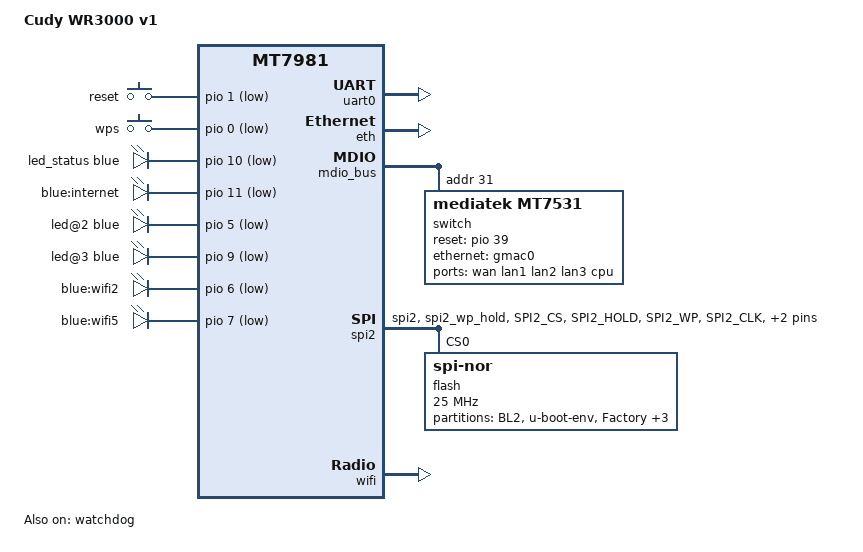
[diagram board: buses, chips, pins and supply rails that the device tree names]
// SPDX-License-Identifier: (GPL-2.0 OR MIT)

/dts-v1/;

#include <dt-bindings/leds/common.h>

#include "mt7981.dtsi"

/ {
	model = "Cudy WR3000 v1";
	compatible = "cudy,wr3000-v1", "mediatek,mt7981";

	aliases {
		ethernet0 = &gmac0;
		label-mac-device = &gmac0;
		led-boot = &led_status;
		led-failsafe = &led_status;
		led-running = &led_status;
		led-upgrade = &led_status;
		serial0 = &uart0;
	};

	chosen {
		stdout-path = "serial0:115200n8";
	};

	gpio-keys {
		compatible = "gpio-keys";

		reset {
			label = "reset";
			linux,code = <KEY_RESTART>;
			gpios = <&pio 1 GPIO_ACTIVE_LOW>;
		};

		wps {
			label = "wps";
			linux,code = <KEY_WPS_BUTTON>;
			gpios = <&pio 0 GPIO_ACTIVE_LOW>;
		};
	};

	leds {
		compatible = "gpio-leds";

		led_status: led@0 {
			function = LED_FUNCTION_STATUS;
			color = <LED_COLOR_ID_BLUE>;
			gpios = <&pio 10 GPIO_ACTIVE_LOW>;
		};

		led@1 {
			label = "blue:internet";
			gpios = <&pio 11 GPIO_ACTIVE_LOW>;
		};

		led@2 {
			function = LED_FUNCTION_WAN;
			color = <LED_COLOR_ID_BLUE>;
			gpios = <&pio 5 GPIO_ACTIVE_LOW>;
		};

		led@3 {
			function = LED_FUNCTION_LAN;
			color = <LED_COLOR_ID_BLUE>;
			gpios = <&pio 9 GPIO_ACTIVE_LOW>;
		};

		led@4 {
			label = "blue:wifi2";
			gpios = <&pio 6 GPIO_ACTIVE_LOW>;
			linux,default-trigger = "phy0tpt";
		};

		led@5 {
			label = "blue:wifi5";
			gpios = <&pio 7 GPIO_ACTIVE_LOW>;
			linux,default-trigger = "phy1tpt";
		};
	};
};

&uart0 {
	status = "okay";
};

&watchdog {
	status = "okay";
};

&eth {
	pinctrl-names = "default";
	pinctrl-0 = <&mdio_pins>;

	status = "okay";

	gmac0: mac@0 {
		compatible = "mediatek,eth-mac";
		reg = <0>;
		phy-mode = "2500base-x";

		nvmem-cell-names = "mac-address";
		nvmem-cells = <&macaddr_bdinfo_de00 0>;

		fixed-link {
			speed = <2500>;
			full-duplex;
			pause;
		};
	};

	gmac1: mac@1 {
		compatible = "mediatek,eth-mac";
		reg = <1>;
		status = "disabled";
	};
};

&mdio_bus {
	switch: switch@1f {
		compatible = "mediatek,mt7531";
		reg = <31>;
		reset-gpios = <&pio 39 GPIO_ACTIVE_HIGH>;
	};
};

&spi0 {
	pinctrl-names = "default";
	pinctrl-0 = <&spi0_flash_pins>;
	status = "disabled";
};

&spi2 {
	pinctrl-names = "default";
	pinctrl-0 = <&spi2_flash_pins>;
	status = "okay";

	flash@0 {
		#address-cells = <1>;
		#size-cells = <1>;

		compatible = "jedec,spi-nor";
		reg = <0>;

		spi-max-frequency = <25000000>;
		spi-tx-bus-width = <4>;
		spi-rx-bus-width = <4>;

		partitions {
			compatible = "fixed-partitions";
			#address-cells = <1>;
			#size-cells = <1>;

			partition@00000 {
				label = "BL2";
				reg = <0x00000 0x40000>;
				read-only;
			};

			partition@40000 {
				label = "u-boot-env";
				reg = <0x40000 0x10000>;
				read-only;
			};

			factory: partition@50000 {
				label = "Factory";
				reg = <0x50000 0x10000>;
				read-only;
			};

			bdinfo: partition@60000 {
				label = "bdinfo";
				reg = <0x60000 0x10000>;
				read-only;

				nvmem-layout {
					compatible = "fixed-layout";
					#address-cells = <1>;
					#size-cells = <1>;

					macaddr_bdinfo_de00: macaddr@de00 {
						compatible = "mac-base";
						reg = <0xde00 0x6>;
						#nvmem-cell-cells = <1>;
					};
				};
			};

			partition@70000 {
				label = "FIP";
				reg = <0x70000 0x80000>;
				read-only;
			};

			partition@f0000 {
				compatible = "denx,fit";
				label = "firmware";
				reg = <0xf0000 0xf10000>;
			};
		};
	};
};

&pio {
	spi0_flash_pins: spi0-pins {
		mux {
			function = "spi";
			groups = "spi0", "spi0_wp_hold";
		};
	};

	spi2_flash_pins: spi2-pins {
		mux {
			function = "spi";
			groups = "spi2", "spi2_wp_hold";
		};

		conf-pu {
			pins = "SPI2_CS", "SPI2_HOLD", "SPI2_WP";
			drive-strength = <8>;
			bias-pull-up = <103>;
		};

		conf-pd {
			pins = "SPI2_CLK", "SPI2_MOSI", "SPI2_MISO";
			drive-strength = <8>;
			bias-pull-down = <103>;
		};
	};
};

&switch {
	ports {
		#address-cells = <1>;
		#size-cells = <0>;

		port@0 {
			reg = <0>;
			label = "wan";

			nvmem-cell-names = "mac-address";
			nvmem-cells = <&macaddr_bdinfo_de00 1>;
		};

		port@1 {
			reg = <1>;
			label = "lan1";
		};

		port@2 {
			reg = <2>;
			label = "lan2";
		};

		port@3 {
			reg = <3>;
			label = "lan3";
		};

		port@6 {
			reg = <6>;
			label = "cpu";
			ethernet = <&gmac0>;
			phy-mode = "2500base-x";

			fixed-link {
				speed = <2500>;
				full-duplex;
				pause;
			};
		};
	};
};

&wifi {
	status = "okay";
	mediatek,mtd-eeprom = <&factory 0x0>;
};
